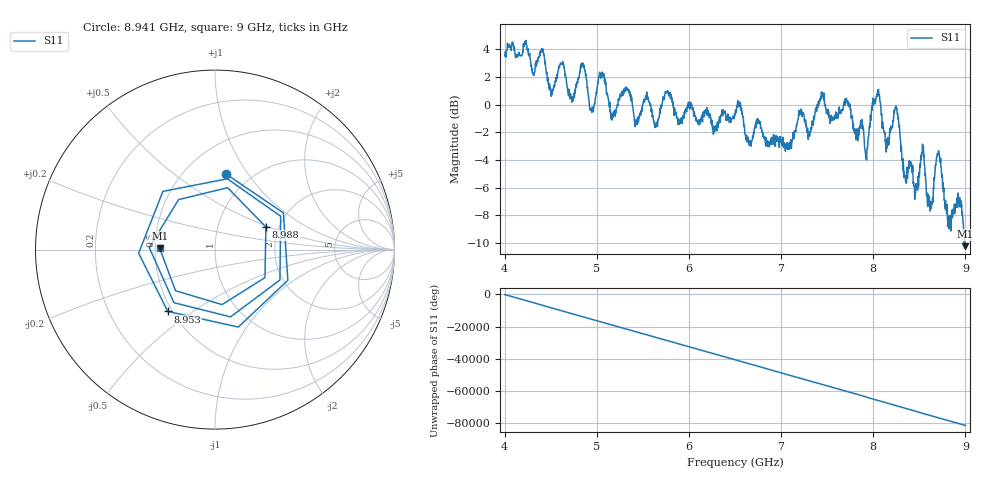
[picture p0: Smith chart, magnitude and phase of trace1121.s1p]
! Created with skrf 1.8.0 (http://scikit-rf.org).
# Hz S RI R 50.0
!freq ReS11 ImS11
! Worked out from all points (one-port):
!   1601 points, 4 GHz to 9 GHz, reference 50 ohm
!   lowest |S11| = -10.2 dB at 9 GHz (marker M1), VSWR 1.89, Z = 26.5 + j0.418 ohm
!   |S11| at or under -10 dB: 8.987411 GHz to 8.990024 GHz (2.613 MHz wide, 0.0291 % of centre); 8.991832 GHz to 8.996461 GHz (4.628 MHz wide, 0.0515 % of centre); 8.997489 GHz to end of sweep
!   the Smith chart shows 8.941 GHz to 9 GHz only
!   S11 on the Smith chart (normalised r, x): 8.941 GHz: 0.77, +0.80; 8.953 GHz: 0.47, -0.40; 8.988 GHz: 1.71, +0.48; 9 GHz: 0.53, +0.01
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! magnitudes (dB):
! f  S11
! 4 GHz  3.5
! 4.406 GHz  3.9
! 4.509 GHz  0.8
! 4.625 GHz  2.9
! 4.725 GHz  0.5
! 4.847 GHz  2.8
! 4.944 GHz  -0.3
! 5.053 GHz  2.2
! 5.162 GHz  -1.1
! 5.25 GHz  0.6
! 5.875 GHz  -1.0
! 6.5 GHz  -0.8
! 7.125 GHz  -2.6
! 7.444 GHz  0.6
! 7.75 GHz  -0.1
! 7.925 GHz  -3.7
! 8.034 GHz  0.6
! 8.15 GHz  -2.7
! 8.247 GHz  -0.1
! 8.375 GHz  -4.8
! 8.538 GHz  -3.0
! 8.625 GHz  -7.5
! 8.706 GHz  -3.5
! 8.822 GHz  -8.5
! 8.941 GHz  -7.4
! 8.953 GHz  -7.3
! 8.988 GHz  -10.2
! 9 GHz  -10.2
